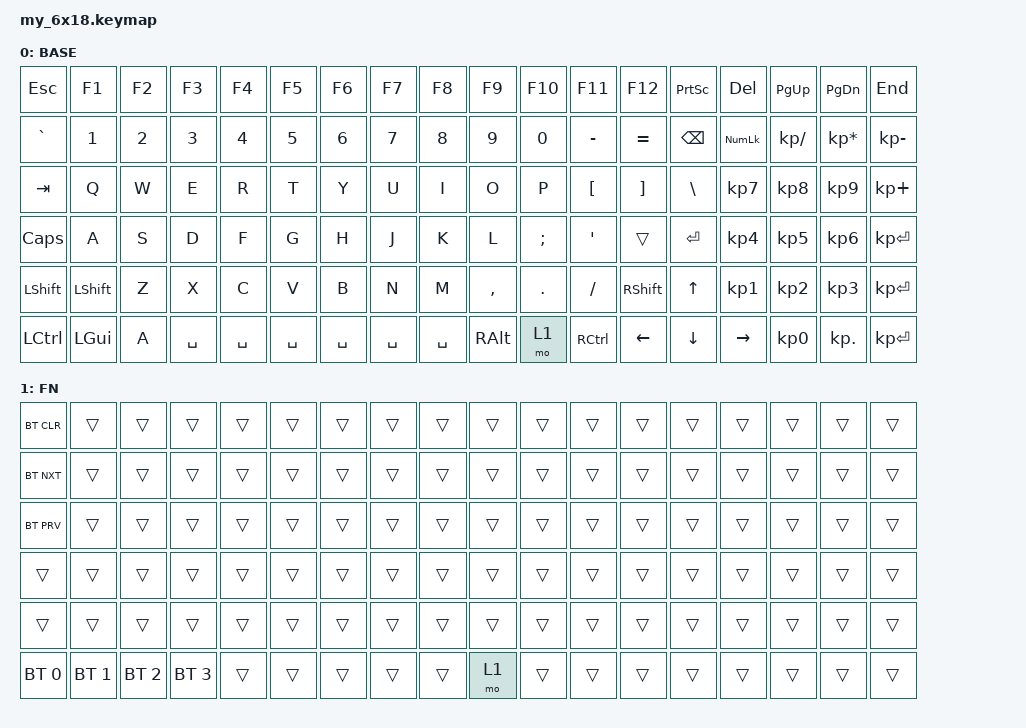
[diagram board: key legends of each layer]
#include <behaviors.dtsi>
#include <dt-bindings/zmk/keys.h>
#include <dt-bindings/zmk/bt.h>
#include <dt-bindings/zmk/outputs.h>

#define BASE 0
#define FN   1

/ {
    keymap {
        compatible = "zmk,keymap";

        base_layer {
            label = "BASE";
            bindings = <
                 &kp ESC     &kp F1    &kp F2   &kp F3    &kp F4    &kp F5    &kp F6    &kp F7    &kp F8    &kp F9    &kp F10   &kp F11   &kp F12   &kp PSCRN          &kp DEL            &kp PG_UP           &kp PG_DN         &kp END

                &kp GRAVE   &kp N1    &kp N2   &kp N3    &kp N4    &kp N5    &kp N6    &kp N7    &kp N8    &kp N9    &kp N0    &kp MINUS &kp EQUAL &kp BSPC           &kp KP_NUMLOCK     &kp KP_SLASH        &kp KP_MULTIPLY   &kp KP_MINUS

                &kp TAB     &kp Q     &kp W    &kp E     &kp R     &kp T     &kp Y     &kp U     &kp I     &kp O     &kp P     &kp LBKT  &kp RBKT  &kp BSLH           &kp KP_NUMBER_7    &kp KP_NUMBER_8     &kp KP_NUMBER_9   &kp KP_PLUS

                &kp CLCK    &kp A     &kp S    &kp D     &kp F     &kp G     &kp H     &kp J     &kp K     &kp L     &kp SEMI  &kp SQT   &trans    &kp RET            &kp KP_NUMBER_4    &kp KP_NUMBER_5     &kp KP_NUMBER_6   &kp KP_ENTER

                &kp LSHFT   &kp LSHFT &kp Z    &kp X     &kp C     &kp V     &kp B     &kp N     &kp M     &kp COMMA &kp DOT   &kp FSLH  &kp RSHFT         &kp UP     &kp KP_NUMBER_1    &kp KP_NUMBER_2     &kp KP_NUMBER_3   &kp KP_ENTER

                &kp LCTRL   &kp LGUI  &kp A    &kp SPACE &kp SPACE &kp SPACE &kp SPACE &kp SPACE &kp SPACE &kp RALT  &mo 1     &kp RCTRL         &kp LEFT  &kp DOWN   &kp RIGHT          &kp KP_NUMBER_0     &kp KP_DOT        &kp KP_ENTER
            >;
        };

        fn_layer {
            label = "FN";
            bindings = <
                &bt BT_CLR     &trans           &trans           &trans     &trans         &trans     &trans     &trans     &trans     &trans     &trans     &trans     &trans     &trans        &trans     &trans     &trans     &trans

                &bt BT_NXT     &trans           &trans           &trans         &trans     &trans     &trans     &trans     &trans     &trans     &trans     &trans     &trans     &trans        &trans     &trans     &trans     &trans

                &bt BT_PRV     &trans           &trans           &trans         &trans     &trans     &trans     &trans     &trans     &trans     &trans     &trans     &trans     &trans        &trans     &trans     &trans     &trans

                &trans         &trans           &trans           &trans         &trans     &trans     &trans     &trans     &trans     &trans     &trans     &trans     &trans     &trans        &trans     &trans     &trans     &trans

                &trans         &trans           &trans           &trans         &trans     &trans     &trans     &trans     &trans     &trans     &trans     &trans     &trans          &trans   &trans     &trans     &trans     &trans

                &bt BT_SEL 0   &bt BT_SEL 1     &bt BT_SEL 2     &bt BT_SEL 3   &trans     &trans     &trans     &trans     &trans     &mo 1      &trans     &trans            &trans   &trans   &trans     &trans     &trans     &trans
            >;
        };
    };

       rgb_matrix {
            compatible = "zmk,per-key-rgb";
            label = "RGB_MATRIX";
            led-strip = <&ws2812>;   /* แก้จาก &led_strip → &ws2812 */


        leds = <
            /* row col index */
            0 0 0   0 1 1   0 2 2   0 3 3   0 4 4   0 5 5   0 6 6   0 7 7   0 8 8   0 9 9   0 10 10  0 11 11  0 12 12  0 13 13  0 14 14  0 15 15  0 16 16  0 17 17
            1 0 18  1 1 19  1 2 20  1 3 21  1 4 22  1 5 23  1 6 24  1 7 25  1 8 26  1 9 27  1 10 28  1 11 29  1 12 30  1 13 31  1 14 32  1 15 33  1 16 34  1 17 35
            2 0 36  2 1 37  2 2 38  2 3 39  2 4 40  2 5 41  2 6 42  2 7 43  2 8 44  2 9 45  2 10 46  2 11 47  2 12 48  2 13 49  2 14 50  2 15 51  2 16 52  2 17 53
            3 0 54  3 1 55  3 2 56  3 3 57  3 4 58  3 5 59  3 6 60  3 7 61  3 8 62  3 9 63  3 10 64  3 11 65  3 12 66  3 13 67  3 14 68  3 15 69  3 16 70  3 17 71
            4 0 72  4 1 73  4 2 74  4 3 75  4 4 76  4 5 77  4 6 78  4 7 79  4 8 80  4 9 81  4 10 82  4 11 83  4 12 84  4 13 85  4 14 86  4 15 87  4 16 88  4 17 89
            5 0 90  5 1 91  5 2 92  5 3 93  5 4 94  5 5 95  5 6 96  5 7 97  5 8 98  5 9 99  5 10 100 5 11 101 5 12 102 5 13 103 5 14 104 5 15 105 5 16 106 5 17 107
        >;
    };
};
